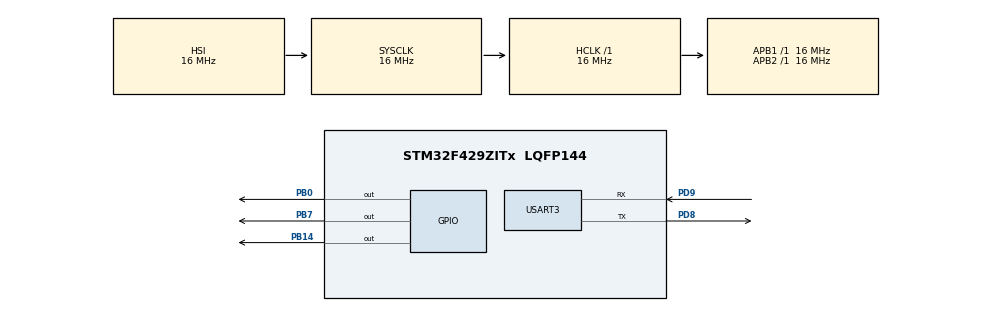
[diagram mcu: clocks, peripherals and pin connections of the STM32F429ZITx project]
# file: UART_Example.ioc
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Mcu.Family=STM32F4
Mcu.Name=STM32F429ZITx
Mcu.Package=LQFP144
NVIC.PriorityGroup=NVIC_PRIORITYGROUP_4
NVIC.USART3_IRQn=true\:0\:0\:false\:true\:true\:1\:true\:true\:true
PB0.Signal=GPIO_Output
PB14.Signal=GPIO_Output
PB7.Signal=GPIO_Output
PC14/OSC32_IN.Mode=LSE-External-Oscillator
PC14/OSC32_IN.Signal=RCC_OSC32_IN
PC15/OSC32_OUT.Mode=LSE-External-Oscillator
PC15/OSC32_OUT.Signal=RCC_OSC32_OUT
PD8.Mode=Asynchronous
PD8.Signal=USART3_TX
PD9.Mode=Asynchronous
PD9.Signal=USART3_RX
PH0/OSC_IN.Mode=HSE-External-Clock-Source
PH0/OSC_IN.Signal=RCC_OSC_IN
PH1/OSC_OUT.Mode=HSE-External-Clock-Source
PH1/OSC_OUT.Signal=RCC_OSC_OUT
ProjectManager.HeapSize=0x200
ProjectManager.StackSize=0x400
ProjectManager.TargetToolchain=STM32CubeIDE
RCC.AHBFreq_Value=16000000
RCC.APB1Freq_Value=16000000
RCC.APB2Freq_Value=16000000
RCC.CortexFreq_Value=16000000
RCC.HSE_VALUE=25000000
RCC.HSI_VALUE=16000000
RCC.SYSCLKFreq_VALUE=16000000
RCC.VCOOutputFreq_Value=192000000
USART3.VirtualMode=VM_ASYNC
board=custom

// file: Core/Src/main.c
/* USER CODE BEGIN Header */
/**
  ******************************************************************************
  * @file           : main.c
  * @brief          : Main program body
  ******************************************************************************
  * @attention
  *
  * Copyright (c) 2023 STMicroelectronics.
  * All rights reserved.
  *
  * This software is licensed under terms that can be found in the LICENSE file
  * in the root directory of this software component.
  * If no LICENSE file comes with this software, it is provided AS-IS.
  *
  ******************************************************************************
  */
/* USER CODE END Header */
#include "main.h"
#include "string.h"
#include "stdio.h"

UART_HandleTypeDef huart3;

/* USER CODE BEGIN PV */
//printf를 사용하기 위해 _write() 함수를 재정의함.
int _write(int file, char *ptr, int len)
{
	HAL_UART_Transmit(&huart3, (uint8_t *)ptr, len, 500); //문자열을 보내는 것. 문자열의 주소를 받아서 문자열의 길이까지 같이 들어옴.

	return len;
}
//문자 하나를 출력하기 위한 재정의
int __io_putchar(int ch)
{
	HAL_UART_Transmit(&huart3, (uint8_t *)&ch, 1, 1000); //문자 하나를 보내는 것.
	return ch;
}

//scanf를 사용하기 위해 _read재정의
int _read(int file, char *ptr, int len)
{
	HAL_UART_Receive(&huart3, (unsigned char*)ptr, len, HAL_MAX_DELAY);
	return len;
}
int __io_getchar(void)
{
	uint8_t ch = 0;
	HAL_UART_Receive(&huart3, (uint8_t *)&ch, 1, HAL_MAX_DELAY);
	return ch;
}
/* USER CODE END PV */

void SystemClock_Config(void);
static void MX_GPIO_Init(void);
static void MX_USART3_UART_Init(void);
static void MX_NVIC_Init(void);

int main(void)
{

  /* MCU Configuration--------------------------------------------------------*/

  /* Reset of all peripherals, Initializes the Flash interface and the Systick. */
  HAL_Init();

  /* Configure the system clock */
  SystemClock_Config();

  /* Initialize all configured peripherals */
  MX_GPIO_Init();
  MX_USART3_UART_Init();

  /* Initialize interrupts */
  MX_NVIC_Init();
  /* USER CODE BEGIN 2 */
  int count = 0;

  //scanf를 사용하기 위해 버퍼를 만들어 주고, standard input/output header를 include 해주어야 한다. #include "stdio.h"
  char str[256] = { 0, };
  setvbuf(stdin, NULL, _IONBF, 0);
  setvbuf(stdout, NULL, _IONBF, 0);

  uint8_t data[] = "Hello STM32F429 World!!\n\r";
  char uart_buf[30];
  /* USER CODE END 2 */
  /* Infinite loop */
  /* USER CODE BEGIN WHILE */
  while (1)
  {
//	  printf("USART print test count=%d\n\r", count++);

//	  scanf("%s", &str);
//	  printf("input data%d: %s\r\n",count++ ,str);
//	  HAL_GPIO_TogglePin(GPIOB, GPIO_PIN_7);
//	  HAL_Delay(500);

	  //echo 실습
	  if(HAL_UART_Receive(&huart3, (uint8_t *)&data, sizeof(data), 500))
	  {
		  HAL_UART_Transmit(&huart3, (uint8_t *)&data, sizeof(data), 500);
		  HAL_GPIO_TogglePin(GPIOB, GPIO_PIN_7);
	  }
	  //Polling Mode 실습
//	  if(HAL_UART_Receive(&huart3, (uint8_t *)&uart_buf, 1, 1000) == HAL_OK)
//	  {
////		  HAL_UART_Transmit(&huart3, (uint8_t *)&uart_buf, 1, 1000);
//		  printf("%s\n\r", uart_buf);
//	  }

    /* USER CODE END WHILE */

  }
}

void SystemClock_Config(void)
{
  RCC_OscInitTypeDef RCC_OscInitStruct = {0};
  RCC_ClkInitTypeDef RCC_ClkInitStruct = {0};

  /** Configure the main internal regulator output voltage
  */
  __HAL_RCC_PWR_CLK_ENABLE();
  __HAL_PWR_VOLTAGESCALING_CONFIG(PWR_REGULATOR_VOLTAGE_SCALE3);

  /** Initializes the RCC Oscillators according to the specified parameters
  * in the RCC_OscInitTypeDef structure.
  */
  RCC_OscInitStruct.OscillatorType = RCC_OSCILLATORTYPE_HSI;
  RCC_OscInitStruct.HSIState = RCC_HSI_ON;
  RCC_OscInitStruct.HSICalibrationValue = RCC_HSICALIBRATION_DEFAULT;
  RCC_OscInitStruct.PLL.PLLState = RCC_PLL_NONE;
  if (HAL_RCC_OscConfig(&RCC_OscInitStruct) != HAL_OK)
  {
    Error_Handler();
  }

  /** Initializes the CPU, AHB and APB buses clocks
  */
  RCC_ClkInitStruct.ClockType = RCC_CLOCKTYPE_HCLK|RCC_CLOCKTYPE_SYSCLK
                              |RCC_CLOCKTYPE_PCLK1|RCC_CLOCKTYPE_PCLK2;
  RCC_ClkInitStruct.SYSCLKSource = RCC_SYSCLKSOURCE_HSI;
  RCC_ClkInitStruct.AHBCLKDivider = RCC_SYSCLK_DIV1;
  RCC_ClkInitStruct.APB1CLKDivider = RCC_HCLK_DIV1;
  RCC_ClkInitStruct.APB2CLKDivider = RCC_HCLK_DIV1;

  if (HAL_RCC_ClockConfig(&RCC_ClkInitStruct, FLASH_LATENCY_0) != HAL_OK)
  {
    Error_Handler();
  }
}

/**
  * @brief NVIC Configuration.
  * @retval None
  */
static void MX_NVIC_Init(void)
{
  /* USART3_IRQn interrupt configuration */
  HAL_NVIC_SetPriority(USART3_IRQn, 0, 0);
  HAL_NVIC_EnableIRQ(USART3_IRQn);
}

static void MX_USART3_UART_Init(void)
{

  huart3.Instance = USART3;
  huart3.Init.BaudRate = 115200;
  huart3.Init.WordLength = UART_WORDLENGTH_8B;
  huart3.Init.StopBits = UART_STOPBITS_1;
  huart3.Init.Parity = UART_PARITY_NONE;
  huart3.Init.Mode = UART_MODE_TX_RX;
  huart3.Init.HwFlowCtl = UART_HWCONTROL_NONE;
  huart3.Init.OverSampling = UART_OVERSAMPLING_16;
  if (HAL_UART_Init(&huart3) != HAL_OK)
  {
    Error_Handler();
  }

}

static void MX_GPIO_Init(void)
{
  GPIO_InitTypeDef GPIO_InitStruct = {0};

  /* GPIO Ports Clock Enable */
  __HAL_RCC_GPIOC_CLK_ENABLE();
  __HAL_RCC_GPIOH_CLK_ENABLE();
  __HAL_RCC_GPIOB_CLK_ENABLE();
  __HAL_RCC_GPIOD_CLK_ENABLE();

  /*Configure GPIO pin Output Level */
  HAL_GPIO_WritePin(GPIOB, GPIO_PIN_0|GPIO_PIN_14|GPIO_PIN_7, GPIO_PIN_RESET);

  /*Configure GPIO pins : PB0 PB14 PB7 */
  GPIO_InitStruct.Pin = GPIO_PIN_0|GPIO_PIN_14|GPIO_PIN_7;
  GPIO_InitStruct.Mode = GPIO_MODE_OUTPUT_PP;
  GPIO_InitStruct.Pull = GPIO_NOPULL;
  GPIO_InitStruct.Speed = GPIO_SPEED_FREQ_LOW;
  HAL_GPIO_Init(GPIOB, &GPIO_InitStruct);

}

void Error_Handler(void)
{
  __disable_irq();
  while (1)
  {
  }
}
